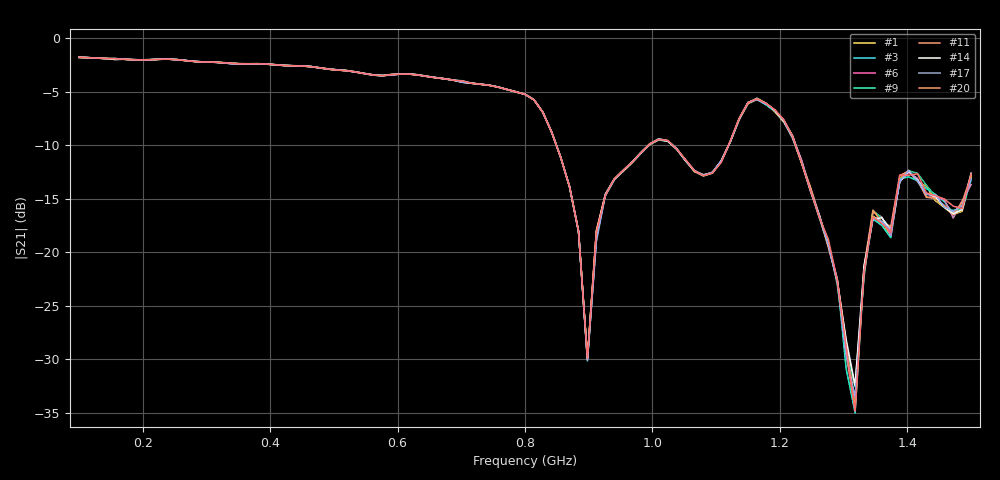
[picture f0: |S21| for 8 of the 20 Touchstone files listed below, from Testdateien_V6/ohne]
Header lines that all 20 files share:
! NanoVNA-App
! Start: 100MHz Stop: 1,5GHz Points: 101
! S-Parameter data: F S11 S21 S12 S22
# Hz S RI R 50
!  Frequency  S11_Real  S11_Imag  S21_Real  S21_Imag  S12_Real  S12_Imag  S22_Real  S22_Imag
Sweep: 100 MHz to 1.5 GHz
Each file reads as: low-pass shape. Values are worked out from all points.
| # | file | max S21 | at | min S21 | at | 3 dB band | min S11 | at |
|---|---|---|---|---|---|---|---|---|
| 1 | ohne (101).s2p | -1.79 dB | 100 MHz | -34.4 dB | 1.318 GHz | 100 MHz-772 MHz | -39.3 dB | 128 MHz |
| 2 | ohne (102).s2p | -1.79 dB | 100 MHz | -34.1 dB | 1.318 GHz | 100 MHz-758 MHz | -39.5 dB | 716 MHz |
| 3 | ohne (103).s2p | -1.79 dB | 100 MHz | -35.0 dB | 1.318 GHz | 100 MHz-758 MHz | -39.5 dB | 716 MHz |
| 4 | ohne (104).s2p | -1.79 dB | 100 MHz | -34.1 dB | 1.318 GHz | 100 MHz-758 MHz | -40.0 dB | 716 MHz |
| 5 | ohne (105).s2p | -1.79 dB | 100 MHz | -32.4 dB | 1.318 GHz | 100 MHz-758 MHz | -39.2 dB | 128 MHz |
| 6 | ohne (106).s2p | -1.80 dB | 100 MHz | -32.5 dB | 1.318 GHz | 100 MHz-758 MHz | -39.4 dB | 716 MHz |
| 7 | ohne (107).s2p | -1.80 dB | 100 MHz | -33.3 dB | 1.318 GHz | 100 MHz-758 MHz | -39.6 dB | 716 MHz |
| 8 | ohne (108).s2p | -1.80 dB | 100 MHz | -32.3 dB | 1.318 GHz | 100 MHz-758 MHz | -39.7 dB | 716 MHz |
| 9 | ohne (109).s2p | -1.80 dB | 100 MHz | -32.6 dB | 1.318 GHz | 100 MHz-758 MHz | -39.2 dB | 716 MHz |
| 10 | ohne (110).s2p | -1.80 dB | 100 MHz | -32.1 dB | 1.318 GHz | 100 MHz-758 MHz | -40.3 dB | 716 MHz |
| 11 | ohne (111).s2p | -1.80 dB | 100 MHz | -34.7 dB | 1.318 GHz | 100 MHz-758 MHz | -39.6 dB | 716 MHz |
| 12 | ohne (112).s2p | -1.80 dB | 100 MHz | -33.2 dB | 1.318 GHz | 100 MHz-758 MHz | -40.2 dB | 716 MHz |
| 13 | ohne (113).s2p | -1.80 dB | 100 MHz | -33.6 dB | 1.318 GHz | 100 MHz-758 MHz | -39.5 dB | 716 MHz |
| 14 | ohne (114).s2p | -1.80 dB | 100 MHz | -32.5 dB | 1.318 GHz | 100 MHz-758 MHz | -40.2 dB | 716 MHz |
| 15 | ohne (115).s2p | -1.80 dB | 100 MHz | -31.3 dB | 1.318 GHz | 100 MHz-758 MHz | -40.3 dB | 716 MHz |
| 16 | ohne (116).s2p | -1.80 dB | 100 MHz | -33.7 dB | 1.318 GHz | 100 MHz-758 MHz | -40.4 dB | 716 MHz |
| 17 | ohne (117).s2p | -1.80 dB | 100 MHz | -33.5 dB | 1.318 GHz | 100 MHz-758 MHz | -39.7 dB | 716 MHz |
| 18 | ohne (118).s2p | -1.80 dB | 100 MHz | -33.1 dB | 1.318 GHz | 100 MHz-758 MHz | -40.1 dB | 716 MHz |
| 19 | ohne (119).s2p | -1.80 dB | 100 MHz | -31.9 dB | 1.318 GHz | 100 MHz-758 MHz | -39.9 dB | 716 MHz |
| 20 | ohne (120).s2p | -1.80 dB | 100 MHz | -34.9 dB | 1.318 GHz | 100 MHz-758 MHz | -40.4 dB | 716 MHz |
